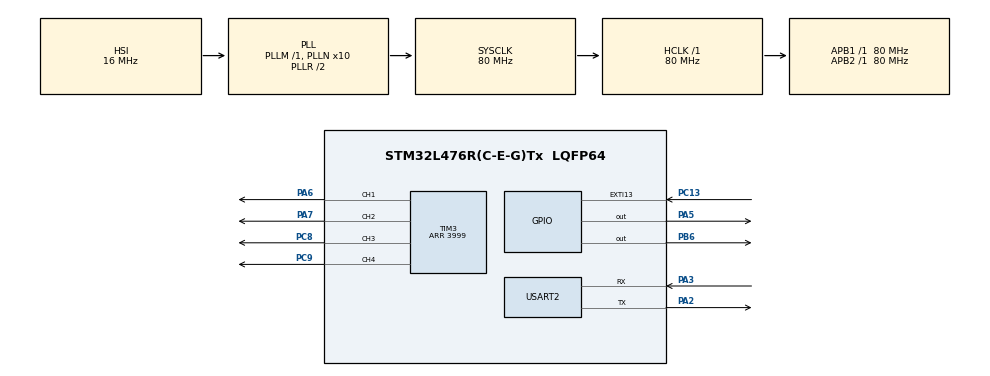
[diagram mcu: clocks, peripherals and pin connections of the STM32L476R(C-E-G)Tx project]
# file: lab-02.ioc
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Mcu.Family=STM32L4
Mcu.Name=STM32L476R(C-E-G)Tx
Mcu.Package=LQFP64
NVIC.EXTI15_10_IRQn=true\:0\:0\:false\:false\:true\:true\:true\:true
NVIC.PriorityGroup=NVIC_PRIORITYGROUP_4
NVIC.TIM3_IRQn=true\:0\:0\:false\:false\:true\:true\:true\:true
NVIC.USART2_IRQn=true\:0\:0\:false\:false\:true\:true\:true\:true
PA13\ (JTMS-SWDIO).Mode=Serial_Wire
PA13\ (JTMS-SWDIO).Signal=SYS_JTMS-SWDIO
PA14\ (JTCK-SWCLK).Mode=Serial_Wire
PA14\ (JTCK-SWCLK).Signal=SYS_JTCK-SWCLK
PA2.Mode=Asynchronous
PA2.Signal=USART2_TX
PA3.Mode=Asynchronous
PA3.Signal=USART2_RX
PA5.Signal=GPIO_Output
PA6.Signal=S_TIM3_CH1
PA7.Signal=S_TIM3_CH2
PB6.Signal=GPIO_Output
PC13.Signal=GPXTI13
PC8.Signal=S_TIM3_CH3
PC9.Signal=S_TIM3_CH4
PH0-OSC_IN\ (PH0).Mode=HSE-External-Clock-Source
PH0-OSC_IN\ (PH0).Signal=RCC_OSC_IN
ProjectManager.HeapSize=0x200
ProjectManager.StackSize=0x400
ProjectManager.TargetToolchain=STM32CubeIDE
RCC.ADCFreq_Value=64000000
RCC.AHBFreq_Value=80000000
RCC.APB1Freq_Value=80000000
RCC.APB1TimFreq_Value=80000000
RCC.APB2Freq_Value=80000000
RCC.APB2TimFreq_Value=80000000
RCC.CortexFreq_Value=80000000
RCC.HCLKFreq_Value=80000000
RCC.HSE_VALUE=8000000
RCC.HSI_VALUE=16000000
RCC.LSE_VALUE=32768
RCC.MSI_VALUE=4000000
RCC.PLLN=10
RCC.PLLSourceVirtual=RCC_PLLSOURCE_HSI
RCC.SYSCLKFreq_VALUE=80000000
RCC.SYSCLKSource=RCC_SYSCLKSOURCE_PLLCLK
RCC.USBFreq_Value=64000000
RCC.VCOOutputFreq_Value=160000000
SH.S_TIM3_CH1.0=TIM3_CH1,PWM Generation1 CH1
SH.S_TIM3_CH2.0=TIM3_CH2,PWM Generation2 CH2
SH.S_TIM3_CH3.0=TIM3_CH3,PWM Generation3 CH3
SH.S_TIM3_CH4.0=TIM3_CH4,PWM Generation4 CH4
TIM3.Channel-PWM\ Generation1\ CH1=TIM_CHANNEL_1
TIM3.Channel-PWM\ Generation2\ CH2=TIM_CHANNEL_2
TIM3.Channel-PWM\ Generation3\ CH3=TIM_CHANNEL_3
TIM3.Channel-PWM\ Generation4\ CH4=TIM_CHANNEL_4
TIM3.Period=3999
USART2.VirtualMode-Asynchronous=VM_ASYNC
board=custom

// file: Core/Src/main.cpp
/* USER CODE BEGIN Header */
/**
  ******************************************************************************
  * @file           : main.c
  * @brief          : Main program body
  ******************************************************************************
  * @attention
  *
  * Copyright (c) 2024 STMicroelectronics.
  * All rights reserved.
  *
  * This software is licensed under terms that can be found in the LICENSE file
  * in the root directory of this software component.
  * If no LICENSE file comes with this software, it is provided AS-IS.
  *
  *
  * Author: Max Gardenswartz
  *	Updated: May 1, 2024
  ******************************************************************************
  */
/* USER CODE END Header */
#include "main.h"

/* USER CODE BEGIN Includes */
#include "MotorDriver.h"
#include <stdio.h>
#include <stdbool.h>
#include <stdlib.h>
#include <string.h>
/* USER CODE END Includes */

TIM_HandleTypeDef htim3;

UART_HandleTypeDef huart2;

void SystemClock_Config(void);
static void MX_GPIO_Init(void);
static void MX_USART2_UART_Init(void);
static void MX_TIM3_Init(void);

/* USER CODE BEGIN 0 */

// Memory allocation
float duty_1;
float duty_2;
char char_buffer = 0;
char buffer[4] = "";
int count = 0;
bool key_flag = false;
char system_message[60] = "";

// UART Key Press Interrupt CAllback
void HAL_UART_RxCpltCallback(UART_HandleTypeDef *huart){

	if(huart->Instance == USART2){
		key_flag= true;
	}
}

// GPIO B0 Button Pressure Interrupt
void HAL_GPIO_EXTI_Callback(uint16_t GPIO_PIN) {

	if(GPIO_PIN == GPIO_PIN_13){
		HAL_GPIO_TogglePin(GPIOA, GPIO_PIN_5);
	}
}

/* USER CODE END 0 */

int main(void)
{

	/* MCU Configuration--------------------------------------------------------*/

	/* Reset of all peripherals, Initializes the Flash interface and the Systick. */
	HAL_Init();

	/* Configure the system clock */
	SystemClock_Config();

	/* Initialize all configured peripherals */
	MX_GPIO_Init();
	MX_USART2_UART_Init();
	MX_TIM3_Init();
	/* USER CODE BEGIN 2 */

	// Create motors
	MotorDriver mot_1(&htim3,
			GPIOA, GPIO_PIN_6, TIM_CHANNEL_1,
			GPIOA, GPIO_PIN_7, TIM_CHANNEL_2
			);
	MotorDriver mot_2(&htim3,
			GPIOC, GPIO_PIN_8, TIM_CHANNEL_3,
			GPIOC, GPIO_PIN_9, TIM_CHANNEL_4
			);

	// Power the motor PDB
	HAL_GPIO_WritePin(GPIOB, GPIO_PIN_6, GPIO_PIN_SET);

	// Program start
	sprintf(system_message, "The program has started. Type something.\r\n");
	HAL_UART_Transmit(&huart2, (uint8_t*)system_message, strlen(system_message), HAL_MAX_DELAY);

	// Set motor speeds
//	duty_1 = 3;
//	duty_2 = -5;
//	mot_1.set_duty(duty_1);
//	mot_2.set_duty(duty_2);

	//Wait for first interrupt
    HAL_UART_Receive_IT(&huart2, (uint8_t*)&char_buffer, sizeof(char_buffer));

  /* USER CODE END 2 */

  /* Infinite loop */
	while (1)
	{

    /* USER CODE BEGIN 3 */

		if(key_flag){
			// Put the character into char_buffer.
			HAL_UART_Receive_IT(&huart2, (uint8_t*)&char_buffer, sizeof(char_buffer));
			key_flag = false;

			// Did the user hit return?
			if(char_buffer == '\r'){
				// Transmit a message
				sprintf(system_message, "\r\n");
				HAL_UART_Transmit(&huart2, (uint8_t*)system_message, strlen(system_message), HAL_MAX_DELAY);

				// Decode input
				bool valid_entry = false;
				bool invalid_hex = false;
				bool out_of_range = false;
				char hex[3];

				if(buffer[0]=='M' || buffer[0]=='m'){
					if(buffer[1]=='1' || buffer[1]=='2'){
						// Convert to hex
						hex[0] = buffer[2];
						hex[1] = buffer[3];
						hex[2] = '\0'; // Null-terminate the string

						// Convert the hexadecimal string to an integer
						char *endptr;
						long int hex_duty = strtol(hex, &endptr, 16);

						// Check for conversion errors
						if (*endptr != '\0') {
							invalid_hex = true;
						} else {
							// No errors yet
							bool negative = false;

							// Handles twos complement
							if(hex_duty> 127){
								hex_duty =  256-hex_duty;
								negative = true;
							}

							if(hex_duty<= 128){
								valid_entry = true;

								// Set duty
								float duty = hex_duty*100/128;

								// Handle negatives
								if(negative){
									duty *= -1;
								}

								// Set duties
								if(buffer[1]=='1'){
									mot_1.set_duty(duty);
								}else{
									mot_2.set_duty(duty);
								}

								// Success message
								sprintf(system_message, "Valid entry received. Set motor %c's duty to %i percent.\r\n",buffer[1],(int)duty);
								HAL_UART_Transmit(&huart2, (uint8_t*)system_message, strlen(system_message), HAL_MAX_DELAY);

							} else {
								out_of_range = true;
							}
						}
					}
				}

				// Invalid entry
				if(valid_entry == false){
					if(out_of_range){
						sprintf(system_message, "\r\nHexadecimal number out of range. Try again?\r\n");
						HAL_UART_Transmit(&huart2, (uint8_t*)system_message, strlen(system_message), HAL_MAX_DELAY);
					} else if(invalid_hex){
						sprintf(system_message, "Invalid hexadecimal digits. Try again?\r\n");
						HAL_UART_Transmit(&huart2, (uint8_t*)system_message, strlen(system_message), HAL_MAX_DELAY);
					} else {
						sprintf(system_message, "Invalid entry. Try again?\r\n");
						HAL_UART_Transmit(&huart2, (uint8_t*)system_message, strlen(system_message), HAL_MAX_DELAY);
					}
				}

				// Clear the buffer
				count = 0;
				memset(buffer, 0, sizeof(buffer));

			// Backspace handler
			} else if(char_buffer == '\b' || char_buffer == '\177'){
				if(count!=0){
					// Decrement the buffer pointer
					count --;

					// Echo the key
					HAL_UART_Transmit(&huart2, (uint8_t*)&char_buffer, sizeof(char_buffer), HAL_MAX_DELAY);
				}

			// If the buffer isn't full...
			} else if(count < (int)sizeof(buffer)){

			  // Echo the key
			  HAL_UART_Transmit(&huart2, (uint8_t*)&char_buffer, sizeof(char_buffer), HAL_MAX_DELAY);

			  // Add it to the buffer
			  buffer[count] = char_buffer;
			  count ++;

			}
		}
	}
  /* USER CODE END 3 */
}

void SystemClock_Config(void)
{
  RCC_OscInitTypeDef RCC_OscInitStruct = {0};
  RCC_ClkInitTypeDef RCC_ClkInitStruct = {0};

  /** Configure the main internal regulator output voltage
  */
  if (HAL_PWREx_ControlVoltageScaling(PWR_REGULATOR_VOLTAGE_SCALE1) != HAL_OK)
  {
    Error_Handler();
  }

  /** Initializes the RCC Oscillators according to the specified parameters
  * in the RCC_OscInitTypeDef structure.
  */
  RCC_OscInitStruct.OscillatorType = RCC_OSCILLATORTYPE_HSI;
  RCC_OscInitStruct.HSIState = RCC_HSI_ON;
  RCC_OscInitStruct.HSICalibrationValue = RCC_HSICALIBRATION_DEFAULT;
  RCC_OscInitStruct.PLL.PLLState = RCC_PLL_ON;
  RCC_OscInitStruct.PLL.PLLSource = RCC_PLLSOURCE_HSI;
  RCC_OscInitStruct.PLL.PLLM = 1;
  RCC_OscInitStruct.PLL.PLLN = 10;
  RCC_OscInitStruct.PLL.PLLP = RCC_PLLP_DIV7;
  RCC_OscInitStruct.PLL.PLLQ = RCC_PLLQ_DIV2;
  RCC_OscInitStruct.PLL.PLLR = RCC_PLLR_DIV2;
  if (HAL_RCC_OscConfig(&RCC_OscInitStruct) != HAL_OK)
  {
    Error_Handler();
  }

  /** Initializes the CPU, AHB and APB buses clocks
  */
  RCC_ClkInitStruct.ClockType = RCC_CLOCKTYPE_HCLK|RCC_CLOCKTYPE_SYSCLK
                              |RCC_CLOCKTYPE_PCLK1|RCC_CLOCKTYPE_PCLK2;
  RCC_ClkInitStruct.SYSCLKSource = RCC_SYSCLKSOURCE_PLLCLK;
  RCC_ClkInitStruct.AHBCLKDivider = RCC_SYSCLK_DIV1;
  RCC_ClkInitStruct.APB1CLKDivider = RCC_HCLK_DIV1;
  RCC_ClkInitStruct.APB2CLKDivider = RCC_HCLK_DIV1;

  if (HAL_RCC_ClockConfig(&RCC_ClkInitStruct, FLASH_LATENCY_4) != HAL_OK)
  {
    Error_Handler();
  }
}

static void MX_TIM3_Init(void)
{

  TIM_MasterConfigTypeDef sMasterConfig = {0};
  TIM_OC_InitTypeDef sConfigOC = {0};

  htim3.Instance = TIM3;
  htim3.Init.Prescaler = 0;
  htim3.Init.CounterMode = TIM_COUNTERMODE_UP;
  htim3.Init.Period = 4000-1;
  htim3.Init.ClockDivision = TIM_CLOCKDIVISION_DIV1;
  htim3.Init.AutoReloadPreload = TIM_AUTORELOAD_PRELOAD_DISABLE;
  if (HAL_TIM_PWM_Init(&htim3) != HAL_OK)
  {
    Error_Handler();
  }
  sMasterConfig.MasterOutputTrigger = TIM_TRGO_RESET;
  sMasterConfig.MasterSlaveMode = TIM_MASTERSLAVEMODE_DISABLE;
  if (HAL_TIMEx_MasterConfigSynchronization(&htim3, &sMasterConfig) != HAL_OK)
  {
    Error_Handler();
  }
  sConfigOC.OCMode = TIM_OCMODE_PWM1;
  sConfigOC.Pulse = 0;
  sConfigOC.OCPolarity = TIM_OCPOLARITY_HIGH;
  sConfigOC.OCFastMode = TIM_OCFAST_DISABLE;
  if (HAL_TIM_PWM_ConfigChannel(&htim3, &sConfigOC, TIM_CHANNEL_1) != HAL_OK)
  {
    Error_Handler();
  }
  if (HAL_TIM_PWM_ConfigChannel(&htim3, &sConfigOC, TIM_CHANNEL_2) != HAL_OK)
  {
    Error_Handler();
  }
  if (HAL_TIM_PWM_ConfigChannel(&htim3, &sConfigOC, TIM_CHANNEL_3) != HAL_OK)
  {
    Error_Handler();
  }
  if (HAL_TIM_PWM_ConfigChannel(&htim3, &sConfigOC, TIM_CHANNEL_4) != HAL_OK)
  {
    Error_Handler();
  }
  HAL_TIM_MspPostInit(&htim3);

}

static void MX_USART2_UART_Init(void)
{

  huart2.Instance = USART2;
  huart2.Init.BaudRate = 115200;
  huart2.Init.WordLength = UART_WORDLENGTH_8B;
  huart2.Init.StopBits = UART_STOPBITS_1;
  huart2.Init.Parity = UART_PARITY_NONE;
  huart2.Init.Mode = UART_MODE_TX_RX;
  huart2.Init.HwFlowCtl = UART_HWCONTROL_NONE;
  huart2.Init.OverSampling = UART_OVERSAMPLING_16;
  huart2.Init.OneBitSampling = UART_ONE_BIT_SAMPLE_DISABLE;
  huart2.AdvancedInit.AdvFeatureInit = UART_ADVFEATURE_NO_INIT;
  if (HAL_UART_Init(&huart2) != HAL_OK)
  {
    Error_Handler();
  }

}

static void MX_GPIO_Init(void)
{
  GPIO_InitTypeDef GPIO_InitStruct = {0};

  /* GPIO Ports Clock Enable */
  __HAL_RCC_GPIOC_CLK_ENABLE();
  __HAL_RCC_GPIOH_CLK_ENABLE();
  __HAL_RCC_GPIOA_CLK_ENABLE();
  __HAL_RCC_GPIOB_CLK_ENABLE();

  /*Configure GPIO pin Output Level */
  HAL_GPIO_WritePin(GPIOA, GPIO_PIN_5, GPIO_PIN_RESET);

  /*Configure GPIO pin Output Level */
  HAL_GPIO_WritePin(GPIOB, GPIO_PIN_6, GPIO_PIN_RESET);

  /*Configure GPIO pin : PC13 */
  GPIO_InitStruct.Pin = GPIO_PIN_13;
  GPIO_InitStruct.Mode = GPIO_MODE_IT_RISING;
  GPIO_InitStruct.Pull = GPIO_NOPULL;
  HAL_GPIO_Init(GPIOC, &GPIO_InitStruct);

  /*Configure GPIO pin : PA5 */
  GPIO_InitStruct.Pin = GPIO_PIN_5;
  GPIO_InitStruct.Mode = GPIO_MODE_OUTPUT_PP;
  GPIO_InitStruct.Pull = GPIO_NOPULL;
  GPIO_InitStruct.Speed = GPIO_SPEED_FREQ_LOW;
  HAL_GPIO_Init(GPIOA, &GPIO_InitStruct);

  /*Configure GPIO pin : PB6 */
  GPIO_InitStruct.Pin = GPIO_PIN_6;
  GPIO_InitStruct.Mode = GPIO_MODE_OUTPUT_PP;
  GPIO_InitStruct.Pull = GPIO_NOPULL;
  GPIO_InitStruct.Speed = GPIO_SPEED_FREQ_LOW;
  HAL_GPIO_Init(GPIOB, &GPIO_InitStruct);

  /* EXTI interrupt init*/
  HAL_NVIC_SetPriority(EXTI15_10_IRQn, 0, 0);
  HAL_NVIC_EnableIRQ(EXTI15_10_IRQn);

}

void Error_Handler(void)
{
  __disable_irq();
  while (1)
  {
  }
}
